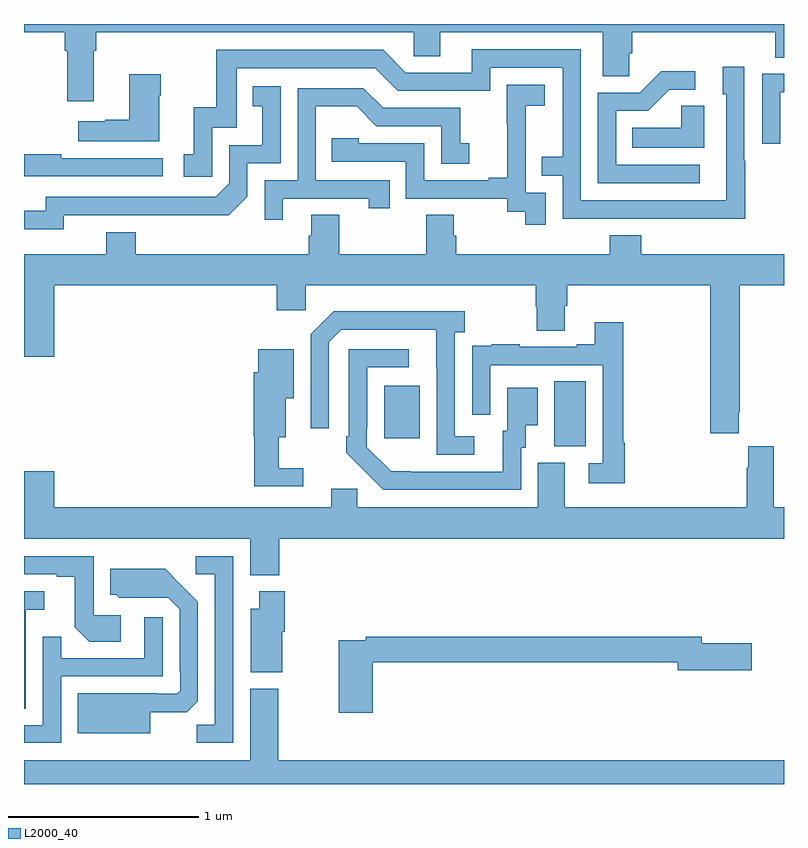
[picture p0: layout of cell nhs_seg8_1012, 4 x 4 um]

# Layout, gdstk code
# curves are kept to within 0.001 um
import gdstk
lib = gdstk.Library(unit=1e-6, precision=1e-09)
def R(c, l, rs):  # rectangles x0, y0, x1, y1
    for r in rs: c.add(gdstk.rectangle(r[:2], r[2:], *l))
def P(c, l, *ps):  # polygons
    for p in ps: c.add(gdstk.Polygon(p, *l))
L2000_40 = (2000, 40)

nhs_seg8_1012 = lib.new_cell('nhs_seg8_1012')
R(nhs_seg8_1012, L2000_40, [(179.792,1091.677,179.956,1092.02), (178.895,1091.721,179.083,1091.995)])
P(nhs_seg8_1012, L2000_40, [(177,1093.856),(177.215,1093.856),(177.215,1093.76),(177.227,1093.76),(177.227,1093.494),(177.367,1093.494),(177.367,1093.76),(177.38,1093.76),(177.38,1093.856),(179.052,1093.856),(179.052,1093.729),(179.191,1093.729),(179.191,1093.856),(180.047,1093.856),(180.047,1093.624),(180.186,1093.624),(180.186,1093.747),(180.2,1093.747),(180.2,1093.856),(180.953,1093.856),(180.953,1093.723),(181,1093.723),(181,1093.9),(177,1093.9)],
  [(180.795,1093.181),(180.792,1093.181),(180.792,1093.675),(180.677,1093.675),(180.677,1093.53),(180.696,1093.53),(180.696,1092.972),(179.931,1092.972),(179.931,1093.767),(179.357,1093.767),(179.357,1093.644),(179.01,1093.644),(178.89,1093.764),(178.011,1093.764),(178.011,1093.462),(177.893,1093.462),(177.893,1093.215),(177.84,1093.215),(177.84,1093.095),(177.99,1093.095),(177.99,1093.353),(178.119,1093.353),(178.119,1093.668),(178.848,1093.668),(178.968,1093.548),(179.454,1093.548),(179.454,1093.671),(179.835,1093.671),(179.835,1093.202),(179.725,1093.202),(179.725,1093.101),(179.835,1093.101),(179.835,1092.876),(180.795,1092.875)],
  [(180.556,1093.158),(180.117,1093.158),(180.117,1093.443),(180.286,1093.443),(180.397,1093.554),(180.532,1093.554),(180.532,1093.652),(180.353,1093.652),(180.24,1093.539),(180.021,1093.539),(180.021,1093.062),(180.556,1093.062)],
  [(180.981,1093.542),(181,1093.542),(181,1093.638),(180.885,1093.638),(180.885,1093.269),(180.981,1093.269)],
  [(177.712,1093.523),(177.72,1093.523),(177.72,1093.636),(177.554,1093.636),(177.554,1093.397),(177.428,1093.397),(177.428,1093.387),(177.285,1093.387),(177.285,1093.283),(177.712,1093.283)],
  [(179.745,1093.011),(179.64,1093.011),(179.64,1093.241),(179.642,1093.241),(179.642,1093.469),(179.74,1093.469),(179.74,1093.579),(179.542,1093.579),(179.542,1093.373),(179.543,1093.373),(179.543,1093.09),(179.447,1093.09),(179.447,1093.077),(179.106,1093.077),(179.106,1093.272),(178.761,1093.272),(178.761,1093.299),(178.621,1093.299),(178.621,1093.176),(179.01,1093.176),(179.01,1092.981),(179.544,1092.981),(179.544,1092.913),(179.637,1092.913),(179.637,1092.843),(179.745,1092.843)],
  [(177.21,1092.894),(178.078,1092.893),(178.176,1092.99),(178.176,1093.167),(178.35,1093.167),(178.35,1093.573),(178.204,1093.573),(178.204,1093.467),(178.253,1093.467),(178.253,1093.263),(178.08,1093.263),(178.08,1093.062),(178.008,1092.99),(177.114,1092.99),(177.114,1092.918),(177,1092.918),(177,1092.821),(177.21,1092.821)],
  [(178.363,1092.981),(178.814,1092.981),(178.814,1092.93),(178.925,1092.93),(178.925,1093.077),(178.536,1093.077),(178.536,1093.466),(178.75,1093.466),(178.854,1093.362),(179.196,1093.362),(179.196,1093.164),(179.344,1093.164),(179.344,1093.273),(179.295,1093.273),(179.295,1093.458),(178.891,1093.458),(178.786,1093.563),(178.44,1093.563),(178.44,1093.077),(178.266,1093.077),(178.266,1092.87),(178.363,1092.87)],
  [(180.58,1093.469),(180.459,1093.469),(180.459,1093.354),(180.202,1093.354),(180.202,1093.25),(180.58,1093.25)],
  [(177.73,1093.194),(177.197,1093.194),(177.197,1093.214),(177,1093.214),(177,1093.098),(177.73,1093.098)],
  [(180.761,1091.857),(180.768,1091.857),(180.768,1092.524),(181,1092.524),(181,1092.688),(180.248,1092.688),(180.248,1092.787),(180.083,1092.787),(180.083,1092.688),(179.276,1092.688),(179.276,1092.786),(179.263,1092.786),(179.263,1092.896),(179.116,1092.896),(179.116,1092.688),(178.659,1092.688),(178.659,1092.896),(178.511,1092.896),(178.511,1092.786),(178.499,1092.786),(178.499,1092.688),(177.587,1092.688),(177.587,1092.805),(177.434,1092.805),(177.434,1092.688),(177,1092.688),(177,1092.15),(177.16,1092.15),(177.16,1092.524),(178.331,1092.524),(178.331,1092.393),(178.482,1092.393),(178.482,1092.524),(179.693,1092.524),(179.693,1092.411),(179.698,1092.411),(179.698,1092.286),(179.845,1092.286),(179.845,1092.418),(179.858,1092.418),(179.858,1092.524),(180.613,1092.524),(180.613,1091.745),(180.761,1091.745)],
  [(179.371,1091.73),(179.268,1091.73),(179.268,1092.278),(179.32,1092.278),(179.32,1092.388),(178.63,1092.388),(178.509,1092.267),(178.509,1091.772),(178.605,1091.772),(178.605,1092.225),(178.671,1092.291),(179.171,1092.291),(179.172,1091.634),(179.371,1091.634)],
  [(180.161,1091.696),(180.154,1091.696),(180.154,1092.331),(180.005,1092.331),(180.005,1092.214),(179.909,1092.214),(179.909,1092.201),(179.609,1092.201),(179.609,1092.214),(179.461,1092.214),(179.461,1092.207),(179.359,1092.207),(179.359,1092.098),(179.358,1092.098),(179.358,1091.844),(179.454,1091.844),(179.454,1092.105),(180.045,1092.105),(180.045,1091.589),(179.973,1091.589),(179.973,1091.484),(180.161,1091.484)],
  [(179.616,1091.67),(179.641,1091.67),(179.641,1091.789),(179.704,1091.789),(179.704,1091.986),(179.543,1091.986),(179.543,1091.76),(179.519,1091.76),(179.519,1091.544),(178.932,1091.545),(178.803,1091.673),(178.803,1091.773),(178.806,1091.773),(178.806,1092.093),(179.026,1092.093),(179.026,1092.189),(178.71,1092.189),(178.71,1091.731),(178.695,1091.731),(178.695,1091.643),(178.892,1091.448),(179.616,1091.448)],
  [(178.471,1091.563),(178.342,1091.563),(178.342,1091.726),(178.378,1091.726),(178.378,1091.93),(178.42,1091.93),(178.42,1092.187),(178.232,1092.187),(178.232,1092.066),(178.208,1092.066),(178.208,1091.73),(178.213,1091.73),(178.213,1091.466),(178.471,1091.466)],
  [(178.343,1091.192),(181,1091.192),(181,1091.356),(180.946,1091.356),(180.946,1091.677),(180.812,1091.677),(180.812,1091.564),(180.803,1091.564),(180.803,1091.356),(179.845,1091.356),(179.845,1091.592),(179.705,1091.592),(179.705,1091.356),(178.755,1091.356),(178.755,1091.454),(178.616,1091.454),(178.616,1091.356),(177.16,1091.356),(177.16,1091.545),(177,1091.545),(177,1091.192),(178.19,1091.192),(178.19,1091),(178.343,1091)],
  [(177.508,1090.788),(177.366,1090.788),(177.366,1091.1),(177,1091.1),(177,1091.004),(177.173,1091.004),(177.173,1090.992),(177.267,1090.992),(177.267,1090.724),(177.343,1090.648),(177.508,1090.648)],
  [(178.101,1091.1),(177.903,1091.1),(177.903,1091.004),(178.005,1091.004),(178.005,1090.211),(177.91,1090.211),(177.91,1090.116),(178.101,1090.116)],
  [(177.664,1090.277),(177.856,1090.277),(177.915,1090.336),(177.915,1090.858),(177.743,1091.032),(177.455,1091.032),(177.455,1090.896),(177.486,1090.896),(177.502,1090.88),(177.759,1090.881),(177.819,1090.821),(177.819,1090.492),(177.822,1090.492),(177.822,1090.392),(177.804,1090.374),(177.704,1090.374),(177.704,1090.378),(177.284,1090.378),(177.284,1090.166),(177.664,1090.166)],
  [(178.36,1090.701),(178.373,1090.701),(178.373,1090.915),(178.238,1090.915),(178.238,1090.822),(178.193,1090.822),(178.193,1090.487),(178.36,1090.487)],
  [(177.009,1090.817),(177.106,1090.817),(177.106,1090.914),(177,1090.914),(177,1090.297),(177.009,1090.297)],
  [(177.195,1090.467),(177.729,1090.467),(177.729,1090.777),(177.633,1090.777),(177.633,1090.563),(177.197,1090.563),(177.197,1090.676),(177.099,1090.676),(177.099,1090.209),(177,1090.209),(177,1090.116),(177.195,1090.116)],
  [(178.835,1090.54),(180.44,1090.54),(180.44,1090.498),(180.829,1090.498),(180.829,1090.64),(180.568,1090.64),(180.568,1090.676),(178.798,1090.676),(178.798,1090.656),(178.657,1090.656),(178.657,1090.275),(178.835,1090.275)],
  [(181,1090.024),(178.338,1090.024),(178.338,1090.402),(178.19,1090.402),(178.19,1090.024),(177,1090.024),(177,1089.9),(181,1089.9)])

lib.write_gds('nhs_seg8_1012.gds')
